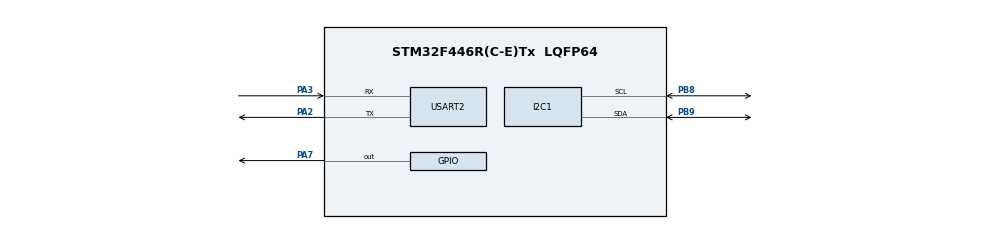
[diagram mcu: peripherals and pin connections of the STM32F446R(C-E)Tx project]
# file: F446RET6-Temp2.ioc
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Mcu.Family=STM32F4
Mcu.Name=STM32F446R(C-E)Tx
Mcu.Package=LQFP64
NVIC.PriorityGroup=NVIC_PRIORITYGROUP_4
PA2.Mode=Asynchronous
PA2.Signal=USART2_TX
PA3.Mode=Asynchronous
PA3.Signal=USART2_RX
PA7.Signal=GPIO_Output
PB8.Mode=I2C
PB8.Signal=I2C1_SCL
PB9.Mode=I2C
PB9.Signal=I2C1_SDA
PC14-OSC32_IN.Signal=RCC_OSC32_IN
PC15-OSC32_OUT.Signal=RCC_OSC32_OUT
ProjectManager.HeapSize=0x200
ProjectManager.StackSize=0x400
ProjectManager.TargetToolchain=STM32CubeIDE
RCC.CortexFreq_Value=16000000
RCC.USBFreq_Value=96000000
RCC.VCOOutputFreq_Value=192000000
USART2.VirtualMode=VM_ASYNC
board=custom

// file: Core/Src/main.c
/* USER CODE BEGIN Header */
/**
  ******************************************************************************
  * @file           : main.c
  * @brief          : Main program body
  ******************************************************************************
  * @attention
  *
  * Copyright (c) 2022 STMicroelectronics.
  * All rights reserved.
  *
  * This software is licensed under terms that can be found in the LICENSE file
  * in the root directory of this software component.
  * If no LICENSE file comes with this software, it is provided AS-IS.
  *
  ******************************************************************************
  */
/* USER CODE END Header */
#include "main.h"

/* USER CODE BEGIN Includes */
#include <string.h>
#include <stdio.h>
/* USER CODE END Includes */

 I2C_HandleTypeDef hi2c1;

UART_HandleTypeDef huart2;

/* USER CODE BEGIN PV */
static const uint8_t TMP102_ADDR = 0x48 << 1; // Use 8-bit address
static const uint8_t REG_TEMP = 0x00;
/* USER CODE END PV */

void SystemClock_Config(void);
static void MX_GPIO_Init(void);
static void MX_USART2_UART_Init(void);
static void MX_I2C1_Init(void);

int main(void)
{
  /* USER CODE BEGIN 1 */
	  HAL_StatusTypeDef ret;
	  uint8_t buf[12];
	  int16_t val;
	  float temp_c;
	  uint8_t ledonnew = 0;
	  uint8_t ledoncurrent = 0;
	  uint8_t buff[12];
	  uint8_t onoff[12];
  /* USER CODE END 1 */

  /* MCU Configuration--------------------------------------------------------*/

  /* Reset of all peripherals, Initializes the Flash interface and the Systick. */
  HAL_Init();

  /* Configure the system clock */
  SystemClock_Config();

  /* Initialize all configured peripherals */
  MX_GPIO_Init();
  MX_USART2_UART_Init();
  MX_I2C1_Init();

  /* Infinite loop */
  /* USER CODE BEGIN WHILE */
	  while (1)
	  {
			HAL_Delay(500);
		  	buf[0] = REG_TEMP;
		  	buff[12] = 0;
			ret = HAL_I2C_Master_Transmit(&hi2c1, TMP102_ADDR, buf, 1, HAL_MAX_DELAY);
			if ( ret != HAL_OK ) {
				strcpy((char*)buf, "Error! Tx\r\n");
			}
			else{
				ret = HAL_I2C_Master_Receive(&hi2c1, TMP102_ADDR, buf, 2, HAL_MAX_DELAY);
				if ( ret != HAL_OK ) {
					strcpy((char*)buf, "Error! Rx\r\n");
				}
				else {
					val = ((int16_t)buf[0] << 4) | (buf[1] >> 4);
					if ( val > 0x7FF ) {
						val |= 0xF000;
					}
					temp_c = val * 0.0625;

					temp_c *= 100;
					sprintf((char*)buf, "%u.%02u C\r\n", ((unsigned int)temp_c / 100), ((unsigned int)temp_c % 100));
				}
			}
			if ((temp_c/100) > 29.50) {
				ledonnew = 1;
			}
			else {
				ledonnew = 0;
			}
			if (ledonnew == 1) {
				if (ledoncurrent == 0) {
					HAL_GPIO_TogglePin(GPIOA, GPIO_PIN_7);
					ledoncurrent = 1;
				}
				else {}
			}
			else {
				if (ledoncurrent == 1) {
					HAL_GPIO_TogglePin(GPIOA, GPIO_PIN_7);
					ledoncurrent = 0;
				}
				else {}
			}
//			if (HAL_GPIO_ReadPin(GPIOA, GPIO_PIN_7)) {
//				HAL_UART_Transmit(&huart2, buff, strlen((char*)buff), HAL_MAX_DELAY);
//			}
//			HAL_UART_Transmit(&huart2, buf, strlen((char*)buf), HAL_MAX_DELAY);
			if (ledoncurrent == 1) {
				strcpy((char*)onoff, "On");
			}

			else {
				strcpy((char*)onoff, "Off");
			}
			HAL_UART_Transmit(&huart2, onoff, strlen((char*)onoff), HAL_MAX_DELAY);

    /* USER CODE END WHILE */

	  }
}

void SystemClock_Config(void)
{
  RCC_OscInitTypeDef RCC_OscInitStruct = {0};
  RCC_ClkInitTypeDef RCC_ClkInitStruct = {0};

  /** Configure the main internal regulator output voltage
  */
  __HAL_RCC_PWR_CLK_ENABLE();
  __HAL_PWR_VOLTAGESCALING_CONFIG(PWR_REGULATOR_VOLTAGE_SCALE3);

  /** Initializes the RCC Oscillators according to the specified parameters
  * in the RCC_OscInitTypeDef structure.
  */
  RCC_OscInitStruct.OscillatorType = RCC_OSCILLATORTYPE_HSI;
  RCC_OscInitStruct.HSIState = RCC_HSI_ON;
  RCC_OscInitStruct.HSICalibrationValue = RCC_HSICALIBRATION_DEFAULT;
  RCC_OscInitStruct.PLL.PLLState = RCC_PLL_NONE;
  if (HAL_RCC_OscConfig(&RCC_OscInitStruct) != HAL_OK)
  {
    Error_Handler();
  }

  /** Initializes the CPU, AHB and APB buses clocks
  */
  RCC_ClkInitStruct.ClockType = RCC_CLOCKTYPE_HCLK|RCC_CLOCKTYPE_SYSCLK
                              |RCC_CLOCKTYPE_PCLK1|RCC_CLOCKTYPE_PCLK2;
  RCC_ClkInitStruct.SYSCLKSource = RCC_SYSCLKSOURCE_HSI;
  RCC_ClkInitStruct.AHBCLKDivider = RCC_SYSCLK_DIV1;
  RCC_ClkInitStruct.APB1CLKDivider = RCC_HCLK_DIV1;
  RCC_ClkInitStruct.APB2CLKDivider = RCC_HCLK_DIV1;

  if (HAL_RCC_ClockConfig(&RCC_ClkInitStruct, FLASH_LATENCY_0) != HAL_OK)
  {
    Error_Handler();
  }
}

static void MX_I2C1_Init(void)
{

  hi2c1.Instance = I2C1;
  hi2c1.Init.ClockSpeed = 100000;
  hi2c1.Init.DutyCycle = I2C_DUTYCYCLE_2;
  hi2c1.Init.OwnAddress1 = 0;
  hi2c1.Init.AddressingMode = I2C_ADDRESSINGMODE_7BIT;
  hi2c1.Init.DualAddressMode = I2C_DUALADDRESS_DISABLE;
  hi2c1.Init.OwnAddress2 = 0;
  hi2c1.Init.GeneralCallMode = I2C_GENERALCALL_DISABLE;
  hi2c1.Init.NoStretchMode = I2C_NOSTRETCH_DISABLE;
  if (HAL_I2C_Init(&hi2c1) != HAL_OK)
  {
    Error_Handler();
  }

}

static void MX_USART2_UART_Init(void)
{

  huart2.Instance = USART2;
  huart2.Init.BaudRate = 115200;
  huart2.Init.WordLength = UART_WORDLENGTH_8B;
  huart2.Init.StopBits = UART_STOPBITS_1;
  huart2.Init.Parity = UART_PARITY_NONE;
  huart2.Init.Mode = UART_MODE_TX_RX;
  huart2.Init.HwFlowCtl = UART_HWCONTROL_NONE;
  huart2.Init.OverSampling = UART_OVERSAMPLING_16;
  if (HAL_UART_Init(&huart2) != HAL_OK)
  {
    Error_Handler();
  }

}

static void MX_GPIO_Init(void)
{
  GPIO_InitTypeDef GPIO_InitStruct = {0};

  /* GPIO Ports Clock Enable */
  __HAL_RCC_GPIOC_CLK_ENABLE();
  __HAL_RCC_GPIOA_CLK_ENABLE();
  __HAL_RCC_GPIOB_CLK_ENABLE();

  /*Configure GPIO pin Output Level */
  HAL_GPIO_WritePin(GPIOA, GPIO_PIN_7, GPIO_PIN_RESET);

  /*Configure GPIO pin : PA7 */
  GPIO_InitStruct.Pin = GPIO_PIN_7;
  GPIO_InitStruct.Mode = GPIO_MODE_OUTPUT_PP;
  GPIO_InitStruct.Pull = GPIO_NOPULL;
  GPIO_InitStruct.Speed = GPIO_SPEED_FREQ_LOW;
  HAL_GPIO_Init(GPIOA, &GPIO_InitStruct);

}

void Error_Handler(void)
{
  __disable_irq();
  while (1)
  {
  }
}
